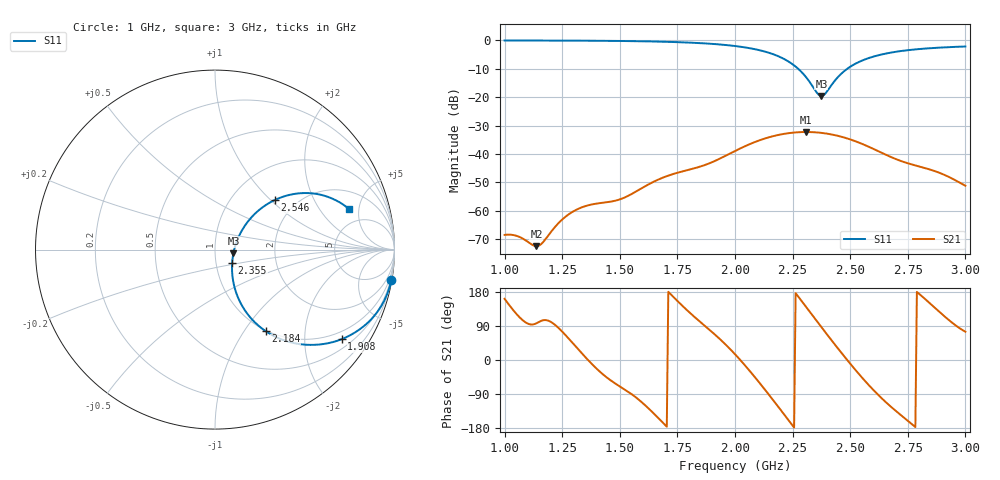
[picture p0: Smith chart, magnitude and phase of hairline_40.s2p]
! TOUCHSTONE file generated by CST MICROWAVE STUDIO
! Date and time: Tue Mar 18 20:31:53 2025
! Project name: hairline.cst
! Parameters = {B=12.5; D=160; F=15; Feed=2.85625; Fracture=0.5; L=100; M=50; R=0.384908; S=1.5; Theta=270; length=57.125; wave=114.25}
! Header version: 2024
! Port assignment regex: !\s*Touchstone port\s*([0-9]+)\s*=\s*(CST MWS port|CST DES external port|CST DES block port)\s*(.+)\s* \(\"(.*)\"\)(\s*mode\s*([0-9]+))?.*
! Touchstone port assignment:
! Touchstone port 1 = CST MWS port 1 ("")
! Touchstone port 2 = CST MWS port 2 ("")
# GHz S DB R 50
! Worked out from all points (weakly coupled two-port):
!   305 points, 1 GHz to 3 GHz, reference 50 ohm
!   highest |S21| = -32.24 dB at 2.309 GHz (marker M1); lowest = -72.4 dB at 1.138 GHz (marker M2)
!   lowest |S11| = -19.6 dB at 2.375 GHz (marker M3), VSWR 1.23, Z = 61.4 - j2.55 ohm
!   |S11| at or under -10 dB: 2.274 GHz to 2.487 GHz (212.5 MHz wide, 8.93 % of centre)
!   S12 and S22 are empty: the file has one direction only
!   S11 on the Smith chart (normalised r, x): 1 GHz: 0, -12; 1.908 GHz: 0.75, -2.98; 2.184 GHz: 0.99, -1.26; 2.355 GHz: 1.20, -0.18; 2.546 GHz: 1.56, +1.06; 3 GHz: 3.43, +3.94
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1  -0.02 -9.8  -68.45 161.3  -200.00 0.0  -200.00 0.0
1.05921  -0.03 -10.6  -69.00 116.3  -200.00 0.0  -200.00 0.0
1.13816  -0.04 -11.7  -72.42 96.9  -200.00 0.0  -200.00 0.0
1.16447  -0.04 -12.1  -71.24 104.5  -200.00 0.0  -200.00 0.0
1.25658  -0.07 -13.7  -62.58 70.7  -200.00 0.0  -200.00 0.0
1.33553  -0.10 -15.2  -58.75 17.5  -200.00 0.0  -200.00 0.0
1.50658  -0.20 -19.1  -55.77 -72.1  -200.00 0.0  -200.00 0.0
1.67105  -0.43 -24.2  -48.84 -155.6  -200.00 0.0  -200.00 0.0
1.90789  -1.26 -35.2  -42.60 69.8  -200.00 0.0  -200.00 0.0
2  -1.98 -41.4  -38.93 15.3  -200.00 0.0  -200.00 0.0
2.10526  -3.43 -50.3  -35.19 -59.4  -200.00 0.0  -200.00 0.0
2.18421  -5.45 -58.2  -33.34 -120.6  -200.00 0.0  -200.00 0.0
2.25658  -8.80 -64.0  -32.43 -178.3  -200.00 0.0  -200.00 0.0
2.30921  -13.01 -61.8  -32.24 139.4  -200.00 0.0  -200.00 0.0
2.33553  -16.01 -52.9  -32.29 118.3  -200.00 0.0  -200.00 0.0
2.35526  -18.39 -37.3  -32.39 102.5  -200.00 0.0  -200.00 0.0
2.375  -19.60 -11.3  -32.55 86.8  -200.00 0.0  -200.00 0.0
2.46711  -11.29 41.6  -34.02 15.0  -200.00 0.0  -200.00 0.0
2.54605  -7.29 39.7  -36.23 -42.8  -200.00 0.0  -200.00 0.0
2.67105  -4.38 31.4  -40.84 -120.3  -200.00 0.0  -200.00 0.0
2.88816  -2.54 20.4  -46.63 126.5  -200.00 0.0  -200.00 0.0
3  -2.15 16.7  -51.15 74.6  -200.00 0.0  -200.00 0.0
